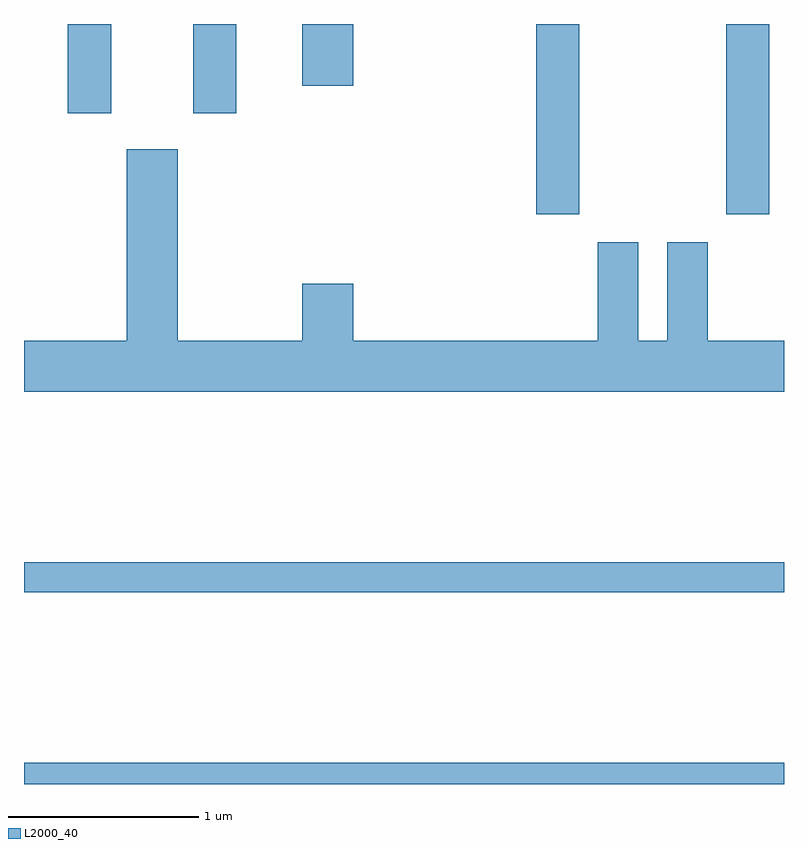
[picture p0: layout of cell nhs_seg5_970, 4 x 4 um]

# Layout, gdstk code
import gdstk
lib = gdstk.Library(unit=1e-6, precision=1e-09)
def R(c, l, rs):  # rectangles x0, y0, x1, y1
    for r in rs: c.add(gdstk.rectangle(r[:2], r[2:], *l))
def P(c, l, *ps):  # polygons
    for p in ps: c.add(gdstk.Polygon(p, *l))
L2000_40 = (2000, 40)

nhs_seg5_970 = lib.new_cell('nhs_seg5_970')
R(nhs_seg5_970, L2000_40, [(213.611,1448.072,217.611,1448.184), (213.611,1449.081,217.611,1449.239), (216.306,1451.071,216.534,1452.072), (217.306,1451.071,217.534,1452.072), (213.841,1451.601,214.069,1452.072), (214.501,1451.601,214.729,1452.072), (215.076,1451.746,215.344,1452.072)])
P(nhs_seg5_970, L2000_40, [(217.611,1450.404),(217.209,1450.404),(217.209,1450.924),(216.996,1450.924),(216.996,1450.404),(216.844,1450.404),(216.844,1450.924),(216.631,1450.924),(216.631,1450.404),(215.344,1450.404),(215.344,1450.704),(215.076,1450.704),(215.076,1450.404),(214.419,1450.404),(214.419,1451.414),(214.151,1451.414),(214.151,1450.404),(213.611,1450.404),(213.611,1450.136),(217.611,1450.136)])

lib.write_gds('nhs_seg5_970.gds')
